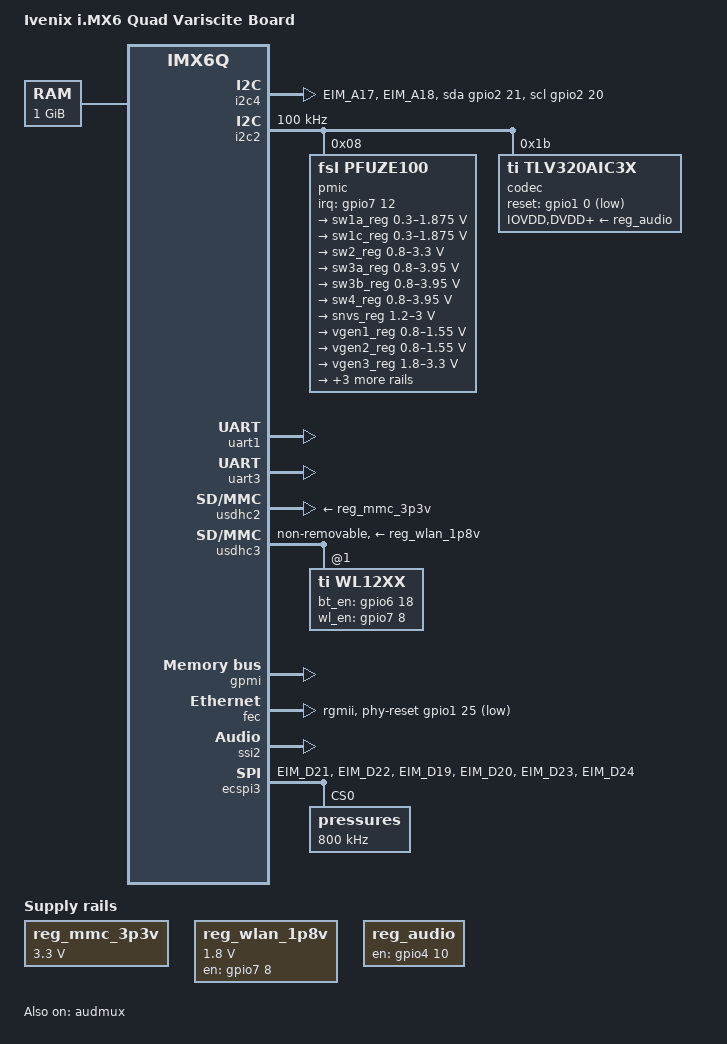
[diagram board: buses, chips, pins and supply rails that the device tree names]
/*
 * Copyright 2014 Ivenix Corp.
 *
 * The code contained herein is licensed under the GNU General Public
 * License. You may obtain a copy of the GNU General Public License
 * Version 2 or later at the following locations:
 *
 * http://www.opensource.org/licenses/gpl-license.html
 * http://www.gnu.org/copyleft/gpl.html
 */

/dts-v1/;

#include "imx6q.dtsi"

/ {
	model = "Ivenix i.MX6 Quad Variscite Board";
	compatible = "fsl,imx6q-maryann", "fsl,imx6q";

	memory {
		reg = <0x10000000 0x40000000>;
	};

	regulators {
		compatible = "simple-bus";

		reg_mmc_3p3v: 3p3v {
			compatible = "regulator-fixed";
			regulator-name = "3P3V";
			regulator-min-microvolt = <3300000>;
			regulator-max-microvolt = <3300000>;
			regulator-always-on;
		};

		reg_wlan_1p8v: 1p8v {
			compatible = "regulator-fixed";
			regulator-name = "vmmc";
			regulator-min-microvolt = <1800000>;
			regulator-max-microvolt = <1800000>;
			/* regulator-ramp-delay =  */
			gpio = <&gpio7 8 0>;
			enable-active-high;
		};

		reg_audio: wm8962_supply {
			compatible = "regulator-fixed";
			regulator-name = "wm8962-supply";
			gpio = <&gpio4 10 0>;
			enable-active-high;
		};
	};

	sound {
		compatible = "fsl,imx-audio-tlv320aic3x";
		model = "tlv320aic3x-audio";
		ssi-controller = <&ssi2>;
		audio-codec = <&codec>;
		audio-routing =
			/* Headphone connected to HPLOUT, HPROUT */
			"Headphone Jack",       "HPLOUT",
			"Headphone Jack",       "HPROUT",
			/* Line Out connected to LLOUT, RLOUT */
			"Line Out",      	"LLOUT",
			"Line Out",     	"RLOUT",
			/* Mic connected to (MIC3L | MIC3R) */
			"Mic Bias",		"MIC3L",
			"Mic Bias",		"MIC3R",
			"Mic Jack",		"Mic Bias",
			/* Line In connected to (LINE1L | LINE2L), (LINE1R | LINE2R) */
			"Line In",		"LINE1L",
			"Line In",		"LINE2L",
			"Line In",		"LINE1R",
			"Line In",		"LINE2R";
		mux-int-port = <2>;
		mux-ext-port = <3>;
	};

	lvp-control-signals {
		compatible = "gpio-of-helper";
		status = "okay";
		pinctrl-names = "default";
		pinctrl-0 = <&pinctrl_lvpio>;

		j40-6 {
			gpio-name = "J40.6";
			gpio = <&gpio2 21 0>;
			input;
		};
	};

	i2c4: i2c@4 {
		compatible = "i2c-gpio";
		#address-cells = <1>;
		#size-cells = <0>;
		gpios = <&gpio2 21 0	// SDA
			 &gpio2 20 0	// SCL
			>;
		i2c-gpio,delay-us = <5>;
		i2c-gpio,timeout-ms = <10>;

		pinctrl-names = "default";
		pinctrl-0 = <&pinctrl_i2c4_1>;
		status = "okay";
	};
};

&audmux {
	pinctrl-names = "default";
	pinctrl-0 = <&pinctrl_audmux_2>;
	status = "okay";
};

&iomuxc {
	pinctrl-names = "default";
	pinctrl-0 = <&pinctrl_hog>;

	hog {
		pinctrl_hog: hoggrp {
			fsl,pins = <
				MX6QDL_PAD_SD3_DAT7__GPIO6_IO17                 0x100b0                 /* wl12xx_wl_irq */
				MX6QDL_PAD_SD3_DAT6__GPIO6_IO18                 0x000b0                 /* wl12xx_bt_en */
				MX6QDL_PAD_SD3_RST__GPIO7_IO08                  0x000b0                 /* wl12xx_wl_en */
				MX6QDL_PAD_GPIO_17__GPIO7_IO12                  0x80000000		/* PMIC irq */
				MX6QDL_PAD_ENET_RXD0__OSC32K_32K_OUT            0x80000000              /* WIFI Slow clock */

				MX6QDL_PAD_ENET_CRS_DV__GPIO1_IO25	0x80000000	// RGMII PHY RESET

				MX6QDL_PAD_GPIO_3__CCM_CLKO2                    0x130b0                 /* Camera MCLK */
			>;
		};
	};

	lvpio {
		pinctrl_lvpio: lvpio-1 {
			fsl,pins = <
				MX6QDL_PAD_EIM_A17__GPIO2_IO21 0x0000B0B1
			>;
		};
	};

	i2c4 {
		pinctrl_i2c4_1: i2c4grp-1 {
			fsl,pins = <
				MX6QDL_PAD_EIM_A17__GPIO2_IO21 0x0000F040 // SDA
				MX6QDL_PAD_EIM_A18__GPIO2_IO20 0x00017070 // SCL
			>;
		};
	};

	spi4 {
		pinctrl_spi4: spi4grp-1 {
			fsl,pins = <
				MX6QDL_PAD_EIM_D21__ECSPI4_SCLK 0x800100b1
				MX6QDL_PAD_EIM_D22__ECSPI4_MISO 0x800100b1

				MX6QDL_PAD_EIM_D19__GPIO3_IO19	0x80000000	/* CS_PRESSURE1n */
				MX6QDL_PAD_EIM_D20__GPIO3_IO20	0x80000000	/* CS_PRESSURE2n */
				MX6QDL_PAD_EIM_D23__GPIO3_IO23	0x80000000	/* CS_PRESSURE3n */
				MX6QDL_PAD_EIM_D24__GPIO3_IO24	0x80000000	/* CS_PRESSURE4n */
			>;
		};
	};
};

&i2c2 {
	clock-frequency = <100000>;
	pinctrl-names = "default";
	pinctrl-0 = <&pinctrl_i2c2_2>;
	status = "okay";

	pmic: pfuze100@08 {
		compatible = "fsl,pfuze100";
		reg = <0x08>;
		interrupt-parent = <&gpio7>;
		interrupts = <12 0>;

		regulators {
			sw1a_reg: sw1ab {
				regulator-min-microvolt = <300000>;
				regulator-max-microvolt = <1875000>;
				regulator-boot-on;
				regulator-always-on;
				regulator-ramp-delay = <6250>;
			};

			sw1c_reg: sw1c {
				regulator-min-microvolt = <300000>;
				regulator-max-microvolt = <1875000>;
				regulator-boot-on;
				regulator-always-on;
				regulator-ramp-delay = <6250>;
			};

			sw2_reg: sw2 {
				regulator-min-microvolt = <800000>;
				regulator-max-microvolt = <3300000>;
				regulator-boot-on;
				regulator-always-on;
			};

			sw3a_reg: sw3a {
				regulator-min-microvolt = <800000>;
				regulator-max-microvolt = <3950000>;
				regulator-boot-on;
				regulator-always-on;
			};

			sw3b_reg: sw3b {
				regulator-min-microvolt = <800000>;
				regulator-max-microvolt = <3950000>;
				regulator-boot-on;
				regulator-always-on;
			};


			sw4_reg: sw4 {
				regulator-min-microvolt = <800000>;
				regulator-max-microvolt = <3950000>;
			};

			snvs_reg: vsnvs {
				regulator-min-microvolt = <1200000>;
				regulator-max-microvolt = <3000000>;
				regulator-boot-on;
				regulator-always-on;
			};

			vref_reg: vrefddr {
				regulator-boot-on;
				regulator-always-on;
			};

			vgen1_reg: vgen1 {
				regulator-min-microvolt = <800000>;
				regulator-max-microvolt = <1550000>;
			};

			vgen2_reg: vgen2 {
				regulator-min-microvolt = <800000>;
				regulator-max-microvolt = <1550000>;
			};

			vgen3_reg: vgen3 {
				regulator-min-microvolt = <1800000>;
				regulator-max-microvolt = <3300000>;
				regulator-always-on;
				regulator-boot-on;
			};

			vgen4_reg: vgen4 {
				regulator-min-microvolt = <1800000>;
				regulator-max-microvolt = <3300000>;
				regulator-always-on;
				regulator-boot-on;
			};

			vgen5_reg: vgen5 {
				regulator-min-microvolt = <1800000>;
				regulator-max-microvolt = <3300000>;
				regulator-always-on;
				regulator-boot-on;
			};

			vgen6_reg: vgen6 {
				regulator-min-microvolt = <3300000>;
				regulator-max-microvolt = <3300000>;
				regulator-always-on;
				regulator-boot-on;
			};
		};
	};

	codec: tlv320aic3x@1b {
		compatible = "ti,tlv320aic3x";
		reg = <0x1b>;
		clocks = <&clks 201>;
		clock-names = "clko_clk";
		IOVDD-supply = <&reg_audio>;
		DVDD-supply = <&reg_audio>;
		AVDD-supply = <&reg_audio>;
		DRVDD-supply = <&reg_audio>;
		gpio-reset = <&gpio1 0 1>;
		gpio-cfg = <
			0x0000 /* 0:Default */
			0x0000 /* 1:Default */
			0x0013 /* 2:FN_DMICCLK */
			0x0000 /* 3:Default */
			0x8014 /* 4:FN_DMICCDAT */
			0x0000 /* 5:Default */
		>;
       	};
};



&uart1 {
	pinctrl-names = "default";
	pinctrl-0 = <&pinctrl_uart1_1>;
	status = "okay";
};

&uart3 {
	pinctrl-names = "default";
	pinctrl-0 = <&pinctrl_uart3_2>;
	status = "okay";
};

&usdhc2 {
	pinctrl-names = "default";
	pinctrl-0 = <&pinctrl_usdhc2_2>;
	vmmc-supply = <&reg_mmc_3p3v>;
	status = "okay";
};

&usdhc3 {
	pinctrl-names = "default";
	pinctrl-0 = <&pinctrl_usdhc3_2>;
	status = "okay";

	non-removable;
	max-frequency = <25000000>;
	vmmc-supply = <&reg_wlan_1p8v>;

	wl12xx@1 {
		compatible="ti,wl12xx";
		interrupt = <&gpio6 17 0>;
		bt_en = <&gpio6 18 0>;
		wl_en = <&gpio7 8 0>;
	};
};

&gpmi {
	pinctrl-names = "default";
	pinctrl-0 = <&pinctrl_gpmi_nand_1>;
	nand-bus-width = <8>;
	nand-ecc-mode = "hw";
	status = "okay";
/*
	nand@1,0 {
		linux,mtd-name= "micron,mt29f1g08abb";
		#address-cells = <1>;
		#size-cells = <1>;
		nand-bus-width = <8>;

		partition@0 {
			label = "xloader-nand";
			reg = <0 0x80000>;
		};
	};
*/
};

&fec {
	pinctrl-names = "default";
	pinctrl-0 = <&pinctrl_enet_4>;
	phy-mode = "rgmii";
	phy-reset-gpios = <&gpio1 25 0>;
	status = "okay";
};

&ssi2 {
	fsl,mode = "i2s-slave";
	status = "okay";
};

/* 
 * SPI4
 *
 * pressure sensors 
 */

&ecspi3 {
	pinctrl-names = "default";
	pinctrl-0 = <&pinctrl_spi4>;

	fsl,spi-num-chipselects = <1>;
	status = "okay";

	pressures@0 {
		compatible = "pressures";
		spi-max-frequency = <800000>;
		reg = <0>;
		cs-gpios = <&gpio3 19 0>, <&gpio3 20 0>, <&gpio3 23 0>, <&gpio3 24 0>;
	};
};
